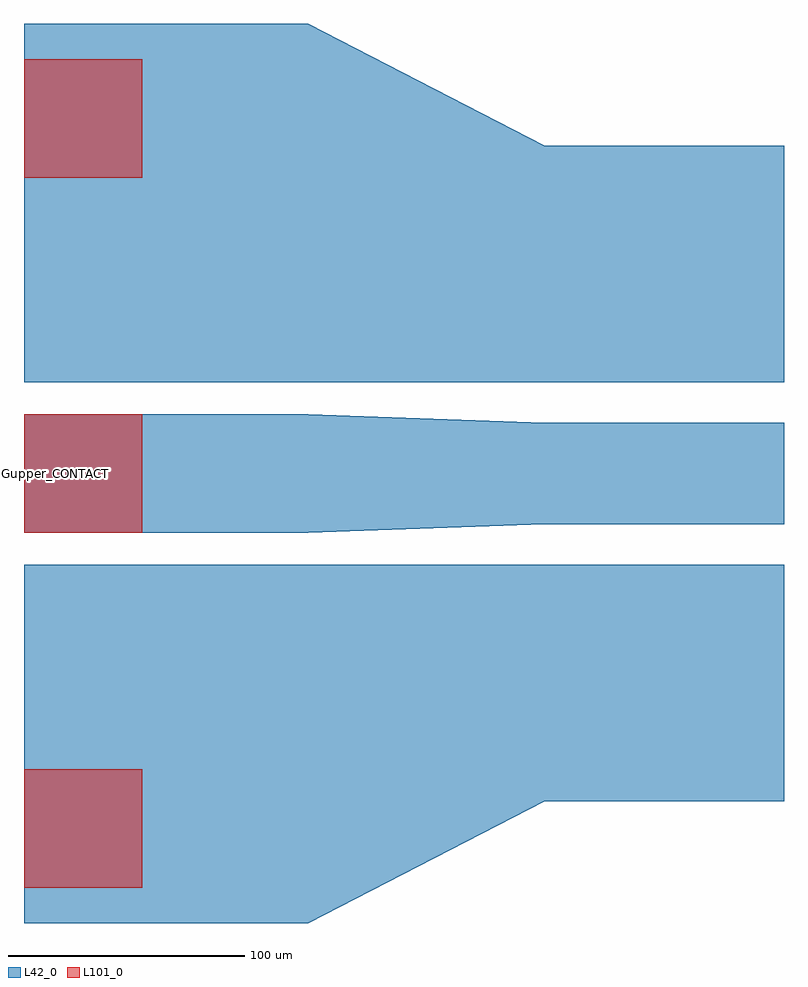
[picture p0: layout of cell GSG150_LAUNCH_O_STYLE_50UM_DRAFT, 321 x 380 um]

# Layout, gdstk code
import gdstk
lib = gdstk.Library(unit=1e-6, precision=1e-09)
def R(c, l, rs):  # rectangles x0, y0, x1, y1
    for r in rs: c.add(gdstk.rectangle(r[:2], r[2:], *l))
def A(c, l, x, y, w, h, nx, ny, dx, dy):  # array of equal rectangles
    R(c, l, [(x+i*dx, y+j*dy, x+i*dx+w, y+j*dy+h) for i in range(nx) for j in range(ny)])
def P(c, l, *ps):  # polygons
    for p in ps: c.add(gdstk.Polygon(p, *l))
L42_0 = (42, 0)
L101_0 = (101, 0)

gsg150_launch_o_style_50 = lib.new_cell('GSG150_LAUNCH_O_STYLE_50UM_DRAFT')
P(gsg150_launch_o_style_50, L42_0, [(0,-25),(0,25),(120,25),(220,21.5),(321,21.5),(321,-21.5),(220,-21.5),(120,-25)],
  [(0,38.5),(0,190),(120,190),(220,138.5),(321,138.5),(321,38.5)],
  [(0,-190),(0,-38.5),(321,-38.5),(321,-138.5),(220,-138.5),(120,-190)])
A(gsg150_launch_o_style_50, L101_0, 0, -175, 50, 50, 1, 3, 0, 150)
gsg150_launch_o_style_50.add(gdstk.Label('Gupper_CONTACT', (0.025,0.15), layer=101, texttype=0))
gsg150_launch_o_style_50.add(gdstk.Label('S_CONTACT', (0.025,0), layer=101, texttype=0))
gsg150_launch_o_style_50.add(gdstk.Label('Glower_CONTACT', (0.025,-0.15), layer=101, texttype=0))
gsg150_launch_o_style_50.add(gdstk.Label('O_STYLE_GSG150_INPUT', (0,-0.22), layer=101, texttype=0))

lib.write_gds('GSG150_LAUNCH_O_STYLE_50UM_DRAFT.gds')
